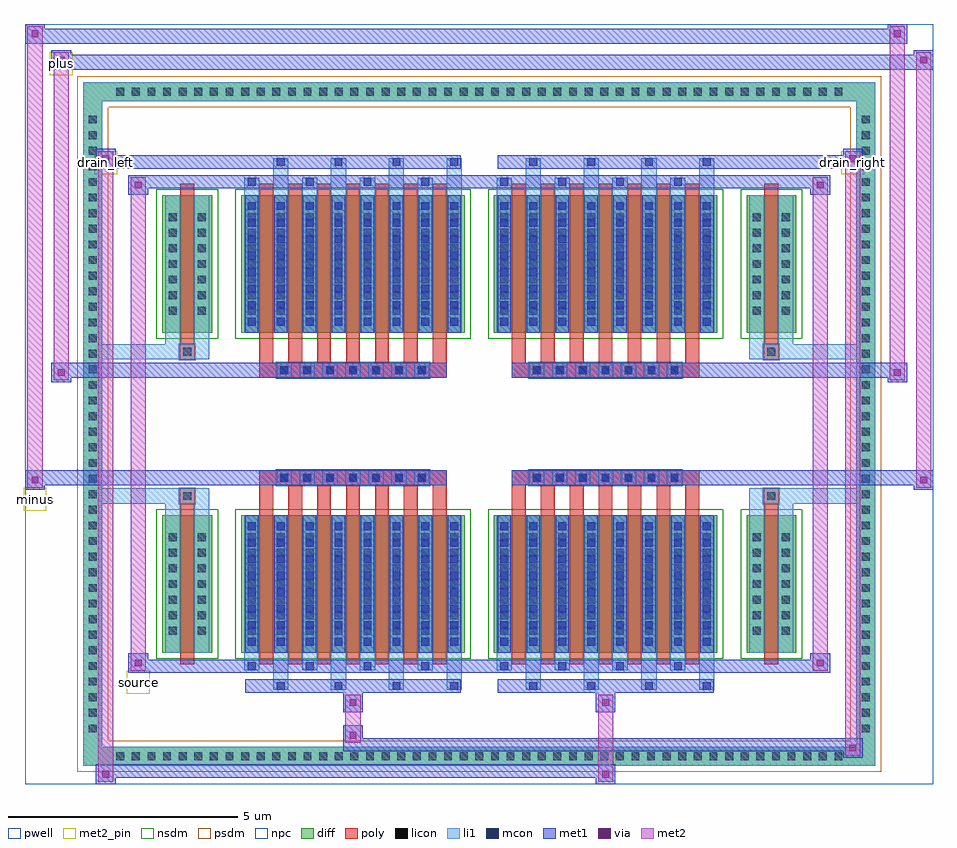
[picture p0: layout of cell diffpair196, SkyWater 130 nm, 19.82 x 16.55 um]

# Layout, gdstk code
import gdstk
lib = gdstk.Library(unit=1e-6, precision=5e-09)
def R(c, l, rs):  # rectangles x0, y0, x1, y1
    for r in rs: c.add(gdstk.rectangle(r[:2], r[2:], *l))
def A(c, l, x, y, w, h, nx, ny, dx, dy):  # array of equal rectangles
    R(c, l, [(x+i*dx, y+j*dy, x+i*dx+w, y+j*dy+h) for i in range(nx) for j in range(ny)])
def P(c, l, *ps):  # polygons
    for p in ps: c.add(gdstk.Polygon(p, *l))
pwell = (64, 44)
diff = (65, 20)
poly = (66, 20)
licon = (66, 44)
li1 = (67, 20)
mcon = (67, 44)
met1 = (68, 20)
via = (68, 44)
met2_pin = (69, 16)
met2 = (69, 20)
nsdm = (93, 44)
psdm = (94, 20)
npc = (95, 20)

diffpair196 = lib.new_cell('diffpair196')
R(diffpair196, pwell, [(-9.89,-7.84,9.89,8.71), (-7.21,-6.03,-0.01,-0.805), (0.01,-6.03,7.21,-0.805), (-7.21,0.805,-0.01,6.03), (0.01,0.805,7.21,6.03)])
A(diffpair196, diff, -8.025, -7.44, 0.41, 0.41, 47, 2, 0.34, 14.47)
A(diffpair196, diff, -8.62, -6.835, 0.41, 0.41, 1, 40, 0, 0.34)
A(diffpair196, diff, 8.21, -6.835, 0.41, 0.41, 1, 40, 0, 0.34)
R(diffpair196, diff, [(-8.025,-7.44,8.025,-7.03), (-8.62,-6.835,-8.21,6.835), (8.21,-6.835,8.62,6.835), (-6.9,-4.985,-5.82,-1.985), (-5.18,-4.985,-0.32,-1.985), (0.32,-4.985,5.18,-1.985), (5.82,-4.985,6.9,-1.985), (-6.9,1.985,-5.82,4.985), (-5.18,1.985,-0.32,4.985), (0.32,1.985,5.18,4.985), (5.82,1.985,6.9,4.985), (-8.025,7.03,8.025,7.44)])
P(diffpair196, diff, [(8.62,7.44),(-8.62,7.44),(-8.62,-7.03),(-8.21,-7.03),(-8.21,7.03),(8.21,7.03),(8.21,-7.03),(-8.21,-7.03),(-8.62,-7.03),(-8.62,-7.44),(8.62,-7.44)])
A(diffpair196, poly, -4.79, -5.235, 0.3, 3.5, 7, 2, 0.63, 6.97)
A(diffpair196, poly, 0.71, -5.235, 0.3, 3.5, 7, 2, 0.63, 6.97)
A(diffpair196, poly, -4.79, -1.735, 0.3, 0.4, 7, 2, 0.63, 3.07)
A(diffpair196, poly, 0.71, -1.735, 0.3, 0.4, 7, 2, 0.63, 3.07)
A(diffpair196, poly, -4.415, -1.335, 0.33, 0.33, 7, 2, 0.5, 2.34)
A(diffpair196, poly, 1.085, -1.335, 0.33, 0.33, 7, 2, 0.5, 2.34)
R(diffpair196, poly, [(-6.51,-5.235,-6.21,-1.735), (6.21,-5.235,6.51,-1.735), (-6.525,-1.735,-6.195,-1.405), (-6.525,-1.735,-6.195,-1.405), (6.195,-1.735,6.525,-1.405), (6.195,-1.735,6.525,-1.405), (-4.79,-1.335,-0.71,-1.005), (0.71,-1.335,4.79,-1.005), (-4.79,1.005,-0.71,1.335), (0.71,1.005,4.79,1.335), (-6.525,1.405,-6.195,1.735), (-6.525,1.405,-6.195,1.735), (6.195,1.405,6.525,1.735), (6.195,1.405,6.525,1.735), (-6.51,1.735,-6.21,5.235), (6.21,1.735,6.51,5.235)])
A(diffpair196, licon, -7.905, -7.32, 0.17, 0.17, 47, 2, 0.34, 14.47)
A(diffpair196, licon, -8.5, -6.715, 0.17, 0.17, 1, 40, 0, 0.34)
A(diffpair196, licon, 8.33, -6.715, 0.17, 0.17, 1, 40, 0, 0.34)
A(diffpair196, licon, -6.76, -4.59, 0.17, 0.17, 1, 7, 0, 0.34)
A(diffpair196, licon, -6.13, -4.59, 0.17, 0.17, 1, 7, 0, 0.34)
A(diffpair196, licon, -5.04, -4.59, 0.17, 0.17, 8, 7, 0.63, 0.34)
A(diffpair196, licon, 0.46, -4.59, 0.17, 0.17, 8, 7, 0.63, 0.34)
A(diffpair196, licon, 5.96, -4.59, 0.17, 0.17, 1, 7, 0, 0.34)
A(diffpair196, licon, 6.59, -4.59, 0.17, 0.17, 1, 7, 0, 0.34)
A(diffpair196, licon, -4.335, -1.255, 0.17, 0.17, 7, 2, 0.5, 2.34)
A(diffpair196, licon, 1.165, -1.255, 0.17, 0.17, 7, 2, 0.5, 2.34)
A(diffpair196, licon, -6.76, 2.38, 0.17, 0.17, 1, 7, 0, 0.34)
A(diffpair196, licon, -6.13, 2.38, 0.17, 0.17, 1, 7, 0, 0.34)
A(diffpair196, licon, -5.04, 2.38, 0.17, 0.17, 8, 7, 0.63, 0.34)
A(diffpair196, licon, 0.46, 2.38, 0.17, 0.17, 8, 7, 0.63, 0.34)
A(diffpair196, licon, 5.96, 2.38, 0.17, 0.17, 1, 7, 0, 0.34)
A(diffpair196, licon, 6.59, 2.38, 0.17, 0.17, 1, 7, 0, 0.34)
R(diffpair196, licon, [(-6.445,-1.655,-6.275,-1.485), (6.275,-1.655,6.445,-1.485), (-6.445,1.485,-6.275,1.655), (6.275,1.485,6.445,1.655)])
A(diffpair196, li1, -7.985, -7.4, 0.33, 0.33, 47, 2, 0.34, 14.47)
A(diffpair196, li1, -8.58, -6.795, 0.33, 0.33, 1, 40, 0, 0.34)
A(diffpair196, li1, 8.25, -6.795, 0.33, 0.33, 1, 40, 0, 0.34)
A(diffpair196, li1, -4.49, -5.79, 0.33, 0.805, 4, 2, 1.26, 10.775)
A(diffpair196, li1, -4.41, -5.79, 0.17, 0.17, 4, 2, 1.26, 11.41)
A(diffpair196, li1, 1.01, -5.79, 0.33, 0.805, 4, 2, 1.26, 10.775)
A(diffpair196, li1, 1.09, -5.79, 0.17, 0.17, 4, 2, 1.26, 11.41)
A(diffpair196, li1, -5.12, -5.36, 0.33, 0.375, 4, 2, 1.26, 10.345)
A(diffpair196, li1, -5.04, -5.36, 0.17, 0.17, 4, 2, 1.26, 10.55)
A(diffpair196, li1, 0.38, -5.36, 0.33, 0.375, 4, 2, 1.26, 10.345)
A(diffpair196, li1, 0.46, -5.36, 0.17, 0.17, 4, 2, 1.26, 10.55)
A(diffpair196, li1, -5.12, -4.985, 0.33, 3, 8, 2, 0.63, 6.97)
A(diffpair196, li1, 0.38, -4.985, 0.33, 3, 8, 2, 0.63, 6.97)
A(diffpair196, li1, -5.04, -4.83, 0.17, 0.17, 8, 8, 0.63, 0.36)
A(diffpair196, li1, -5.04, -4.83, 0.17, 2.69, 8, 2, 0.63, 6.97)
A(diffpair196, li1, 0.46, -4.83, 0.17, 0.17, 8, 8, 0.63, 0.36)
A(diffpair196, li1, 0.46, -4.83, 0.17, 2.69, 8, 2, 0.63, 6.97)
A(diffpair196, li1, -6.84, -4.67, 0.33, 0.33, 1, 7, 0, 0.34)
A(diffpair196, li1, -6.21, -4.67, 0.33, 0.33, 1, 7, 0, 0.34)
A(diffpair196, li1, -5.12, -4.67, 0.33, 0.33, 8, 7, 0.63, 0.34)
A(diffpair196, li1, 0.38, -4.67, 0.33, 0.33, 8, 7, 0.63, 0.34)
A(diffpair196, li1, 5.88, -4.67, 0.33, 0.33, 1, 7, 0, 0.34)
A(diffpair196, li1, 6.51, -4.67, 0.33, 0.33, 1, 7, 0, 0.34)
A(diffpair196, li1, -4.415, -1.335, 0.33, 0.33, 7, 2, 0.5, 2.34)
A(diffpair196, li1, 1.085, -1.335, 0.33, 0.33, 7, 2, 0.5, 2.34)
A(diffpair196, li1, -5.04, 2.14, 0.17, 0.17, 8, 8, 0.63, 0.36)
A(diffpair196, li1, 0.46, 2.14, 0.17, 0.17, 8, 8, 0.63, 0.36)
A(diffpair196, li1, -6.84, 2.3, 0.33, 0.33, 1, 7, 0, 0.34)
A(diffpair196, li1, -6.21, 2.3, 0.33, 0.33, 1, 7, 0, 0.34)
A(diffpair196, li1, -5.12, 2.3, 0.33, 0.33, 8, 7, 0.63, 0.34)
A(diffpair196, li1, 0.38, 2.3, 0.33, 0.33, 8, 7, 0.63, 0.34)
A(diffpair196, li1, 5.88, 2.3, 0.33, 0.33, 1, 7, 0, 0.34)
A(diffpair196, li1, 6.51, 2.3, 0.33, 0.33, 1, 7, 0, 0.34)
R(diffpair196, li1, [(-8.62,-7.44,-8.21,-7.03), (-8.62,-7.44,-8.21,-7.03), (-8.21,-7.44,8.21,-7.03), (8.21,-7.44,8.62,-7.03), (8.21,-7.44,8.62,-7.03), (-8.62,-7.03,-8.21,7.03), (8.21,-7.03,8.62,7.03), (-6.84,-4.985,-6.51,-1.985), (-6.21,-4.985,-5.88,-1.985), (5.88,-4.985,6.21,-1.985), (6.51,-4.985,6.84,-1.985), (-6.84,-1.985,-6.51,-1.405), (-6.21,-1.985,-5.88,-1.405), (5.88,-1.985,6.21,-1.405), (6.51,-1.985,6.84,-1.405), (-8.62,-1.735,-6.525,-1.405), (-6.84,-1.735,-6.525,-1.405), (-6.525,-1.735,-6.195,-1.405), (-6.195,-1.735,-5.88,-1.405), (5.88,-1.735,6.195,-1.405), (6.195,-1.735,6.525,-1.405), (6.195,-1.735,8.62,-1.405), (6.525,-1.735,6.84,-1.405), (-8.62,1.405,-6.525,1.735), (-6.84,1.405,-6.525,1.735), (-6.84,1.405,-6.51,1.985), (-6.525,1.405,-6.195,1.735), (-6.21,1.405,-5.88,1.985), (-6.195,1.405,-5.88,1.735), (5.88,1.405,6.195,1.735), (5.88,1.405,6.21,1.985), (6.195,1.405,6.525,1.735), (6.195,1.405,8.62,1.735), (6.51,1.405,6.84,1.985), (6.525,1.405,6.84,1.735), (-6.84,1.985,-6.51,4.985), (-6.21,1.985,-5.88,4.985), (5.88,1.985,6.21,4.985), (6.51,1.985,6.84,4.985), (-8.62,7.03,-8.21,7.44), (-8.62,7.03,-8.21,7.44), (-8.21,7.03,8.21,7.44), (8.21,7.03,8.62,7.44), (8.21,7.03,8.62,7.44)])
A(diffpair196, mcon, -4.41, -5.79, 0.17, 0.17, 4, 2, 1.26, 11.41)
A(diffpair196, mcon, 1.09, -5.79, 0.17, 0.17, 4, 2, 1.26, 11.41)
A(diffpair196, mcon, -5.04, -5.36, 0.17, 0.17, 4, 2, 1.26, 10.55)
A(diffpair196, mcon, 0.46, -5.36, 0.17, 0.17, 4, 2, 1.26, 10.55)
A(diffpair196, mcon, -5.04, -4.83, 0.17, 0.17, 8, 8, 0.63, 0.36)
A(diffpair196, mcon, 0.46, -4.83, 0.17, 0.17, 8, 8, 0.63, 0.36)
A(diffpair196, mcon, -4.335, -1.255, 0.17, 0.17, 7, 2, 0.5, 2.34)
A(diffpair196, mcon, 1.165, -1.255, 0.17, 0.17, 7, 2, 0.5, 2.34)
A(diffpair196, mcon, -5.04, 2.14, 0.17, 0.17, 8, 8, 0.63, 0.36)
A(diffpair196, mcon, 0.46, 2.14, 0.17, 0.17, 8, 8, 0.63, 0.36)
A(diffpair196, met1, -4.47, -5.85, 0.29, 0.29, 4, 2, 1.26, 11.41)
A(diffpair196, met1, 1.03, -5.85, 0.29, 0.29, 4, 2, 1.26, 11.41)
A(diffpair196, met1, -5.1, -5.42, 0.29, 0.29, 4, 2, 1.26, 10.55)
A(diffpair196, met1, 0.4, -5.42, 0.29, 0.29, 4, 2, 1.26, 10.55)
A(diffpair196, met1, -5.1, -4.985, 0.29, 3, 8, 2, 0.63, 6.97)
A(diffpair196, met1, 0.4, -4.985, 0.29, 3, 8, 2, 0.63, 6.97)
A(diffpair196, met1, -5.1, -4.89, 0.29, 0.29, 8, 8, 0.63, 0.36)
A(diffpair196, met1, 0.4, -4.89, 0.29, 0.29, 8, 8, 0.63, 0.36)
A(diffpair196, met1, -4.395, -1.315, 0.29, 0.29, 7, 2, 0.5, 2.34)
A(diffpair196, met1, 1.105, -1.315, 0.29, 0.29, 7, 2, 0.5, 2.34)
A(diffpair196, met1, -5.1, 2.08, 0.29, 0.29, 8, 8, 0.63, 0.36)
A(diffpair196, met1, 0.4, 2.08, 0.29, 0.29, 8, 8, 0.63, 0.36)
R(diffpair196, met1, [(-8.35,-7.84,-7.92,-7.41), (2.535,-7.84,2.965,-7.41), (-8.35,-7.7,2.965,-7.41), (7.92,-7.27,8.35,-6.84), (-2.965,-7.13,8.35,-6.84), (-2.965,-6.99,-2.535,-6.56), (-2.965,-6.28,-2.535,-5.85), (2.535,-6.28,2.965,-5.85), (-5.1,-5.85,-0.4,-5.56), (0.4,-5.85,5.1,-5.56), (-7.64,-5.42,-7.21,-4.99), (-7.64,-5.42,-5.1,-5.13), (-5.1,-5.42,-0.4,-5.13), (-0.4,-5.42,0.4,-5.13), (0.4,-5.42,5.1,-5.13), (5.1,-5.42,7.64,-5.13), (7.21,-5.42,7.64,-4.99), (-9.89,-1.435,-9.46,-1.005), (9.46,-1.435,9.89,-1.005), (-9.89,-1.335,-0.71,-1.005), (-4.79,-1.335,-0.71,-1.005), (0.71,-1.335,4.79,-1.005), (0.71,-1.335,9.89,-1.005), (-9.32,0.905,-8.89,1.335), (8.89,0.905,9.32,1.335), (-9.32,1.005,-4.79,1.335), (-4.79,1.005,-0.71,1.335), (0.71,1.005,4.79,1.335), (4.79,1.005,9.32,1.335), (-7.64,4.99,-7.21,5.42), (7.21,4.99,7.64,5.42), (-7.64,5.13,-5.1,5.42), (-5.1,5.13,-0.4,5.42), (-0.4,5.13,0.4,5.42), (0.4,5.13,5.1,5.42), (5.1,5.13,7.64,5.42), (-8.35,5.56,-7.92,5.99), (-8.35,5.56,-5.1,5.85), (-5.1,5.56,-0.4,5.85), (0.4,5.56,5.1,5.85), (5.1,5.56,8.35,5.85), (7.92,5.56,8.35,5.99), (-9.32,7.71,-8.89,8.14), (-9.32,7.71,-7.21,8.04), (-7.21,7.71,7.21,8.04), (7.21,7.71,9.89,8.04), (9.46,7.71,9.89,8.14), (-9.89,8.28,-9.46,8.71), (-9.89,8.28,-7.21,8.61), (-7.21,8.28,7.21,8.61), (7.21,8.28,9.32,8.61), (8.89,8.28,9.32,8.71)])
R(diffpair196, via, [(-8.21,-7.7,-8.06,-7.55), (2.675,-7.7,2.825,-7.55), (8.06,-7.13,8.21,-6.98), (-2.825,-6.85,-2.675,-6.7), (-2.825,-6.14,-2.675,-5.99), (2.675,-6.14,2.825,-5.99), (-7.5,-5.28,-7.35,-5.13), (7.35,-5.28,7.5,-5.13), (-9.75,-1.295,-9.6,-1.145), (9.6,-1.295,9.75,-1.145), (-9.18,1.045,-9.03,1.195), (9.03,1.045,9.18,1.195), (-7.5,5.13,-7.35,5.28), (7.35,5.13,7.5,5.28), (-8.21,5.7,-8.06,5.85), (8.06,5.7,8.21,5.85), (-9.18,7.85,-9.03,8), (9.6,7.85,9.75,8), (-9.75,8.42,-9.6,8.57), (9.03,8.42,9.18,8.57)])
R(diffpair196, met2_pin, [(-7.675,-5.87,-7.175,-5.37), (-9.925,-1.885,-9.425,-1.385), (-8.385,5.44,-7.885,5.94), (7.885,5.44,8.385,5.94), (-9.355,7.59,-8.855,8.09)])
R(diffpair196, met2, [(-8.3,-7.79,-7.97,-7.46), (-8.3,-7.79,-7.97,5.94), (2.585,-7.79,2.915,-7.46), (2.585,-7.46,2.915,-6.23), (7.97,-7.22,8.3,-6.89), (7.97,-7.22,8.3,5.94), (-2.915,-6.94,-2.585,-6.61), (-2.915,-6.61,-2.585,-6.23), (-2.915,-6.23,-2.585,-5.9), (2.585,-6.23,2.915,-5.9), (-7.59,-5.37,-7.26,-5.04), (-7.59,-5.37,-7.26,5.37), (7.26,-5.37,7.59,-5.04), (7.26,-5.37,7.59,5.37), (-9.84,-1.385,-9.51,-1.055), (-9.84,-1.385,-9.51,8.66), (9.51,-1.385,9.84,-1.055), (9.51,-1.385,9.84,8.09), (-9.27,0.955,-8.94,1.285), (-9.27,0.955,-8.94,8.09), (8.94,0.955,9.27,1.285), (8.94,0.955,9.27,8.66), (-7.59,5.04,-7.26,5.37), (7.26,5.04,7.59,5.37), (-8.3,5.61,-7.97,5.94), (7.97,5.61,8.3,5.94), (-9.27,7.76,-8.94,8.09), (9.51,7.76,9.84,8.09), (-9.84,8.33,-9.51,8.66), (8.94,8.33,9.27,8.66)])
P(diffpair196, met2, [(9.84,-1.385),(9.84,-1.385),(9.84,-1.055),(9.84,-1.055)],
  [(9.84,7.76),(9.84,7.76),(9.84,8.09),(9.84,8.09)],
  [(-9.51,-1.385),(-9.51,-1.385),(-9.51,-1.055),(-9.51,-1.055)],
  [(-9.51,8.33),(-9.51,8.33),(-9.51,8.66),(-9.51,8.66)],
  [(9.27,0.955),(9.27,0.955),(9.27,1.285),(9.27,1.285)],
  [(9.27,8.33),(9.27,8.33),(9.27,8.66),(9.27,8.66)],
  [(-8.94,0.955),(-8.94,0.955),(-8.94,1.285),(-8.94,1.285)],
  [(-8.94,7.76),(-8.94,7.76),(-8.94,8.09),(-8.94,8.09)],
  [(-7.97,-7.79),(-7.97,-7.79),(-7.97,-7.46),(-7.97,-7.46)],
  [(-7.97,5.61),(-7.97,5.61),(-7.97,5.94),(-7.97,5.94)],
  [(8.3,-7.22),(8.3,-7.22),(8.3,-6.89),(8.3,-6.89)],
  [(8.3,5.61),(8.3,5.61),(8.3,5.94),(8.3,5.94)],
  [(-7.26,-5.37),(-7.26,-5.37),(-7.26,-5.04),(-7.26,-5.04)],
  [(-7.26,5.04),(-7.26,5.04),(-7.26,5.37),(-7.26,5.37)],
  [(7.59,-5.37),(7.59,-5.37),(7.59,-5.04),(7.59,-5.04)],
  [(7.59,5.04),(7.59,5.04),(7.59,5.37),(7.59,5.37)])
R(diffpair196, nsdm, [(-7.03,-5.115,-5.69,-1.855), (-5.31,-5.115,-0.19,-1.855), (0.19,-5.115,5.31,-1.855), (5.69,-5.115,7.03,-1.855), (-7.03,1.855,-5.69,5.115), (-5.31,1.855,-0.19,5.115), (0.19,1.855,5.31,5.115), (5.69,1.855,7.03,5.115)])
P(diffpair196, psdm, [(8.75,7.57),(-8.75,7.57),(-8.75,-6.9),(-8.08,-6.9),(-8.08,6.9),(8.08,6.9),(8.08,-6.9),(-8.08,-6.9),(-8.75,-6.9),(-8.75,-7.57),(8.75,-7.57)])
A(diffpair196, npc, -4.435, -1.355, 0.37, 0.37, 7, 2, 0.5, 2.34)
A(diffpair196, npc, 1.065, -1.355, 0.37, 0.37, 7, 2, 0.5, 2.34)
R(diffpair196, npc, [(-6.545,-1.755,-6.175,-1.385), (6.175,-1.755,6.545,-1.385), (-4.435,-1.355,-3.565,-0.985), (-4.435,-1.355,-3.565,-0.985), (-3.935,-1.355,-3.065,-0.985), (-3.935,-1.355,-3.065,-0.985), (-3.435,-1.355,-2.565,-0.985), (-3.435,-1.355,-2.565,-0.985), (-2.935,-1.355,-2.065,-0.985), (-2.935,-1.355,-2.065,-0.985), (-2.435,-1.355,-1.565,-0.985), (-2.435,-1.355,-1.565,-0.985), (-1.935,-1.355,-1.065,-0.985), (-1.935,-1.355,-1.065,-0.985), (1.065,-1.355,1.935,-0.985), (1.065,-1.355,1.935,-0.985), (1.565,-1.355,2.435,-0.985), (1.565,-1.355,2.435,-0.985), (2.065,-1.355,2.935,-0.985), (2.065,-1.355,2.935,-0.985), (2.565,-1.355,3.435,-0.985), (2.565,-1.355,3.435,-0.985), (3.065,-1.355,3.935,-0.985), (3.065,-1.355,3.935,-0.985), (3.565,-1.355,4.435,-0.985), (3.565,-1.355,4.435,-0.985), (-4.435,0.985,-3.565,1.355), (-4.435,0.985,-3.565,1.355), (-3.935,0.985,-3.065,1.355), (-3.935,0.985,-3.065,1.355), (-3.435,0.985,-2.565,1.355), (-3.435,0.985,-2.565,1.355), (-2.935,0.985,-2.065,1.355), (-2.935,0.985,-2.065,1.355), (-2.435,0.985,-1.565,1.355), (-2.435,0.985,-1.565,1.355), (-1.935,0.985,-1.065,1.355), (-1.935,0.985,-1.065,1.355), (1.065,0.985,1.935,1.355), (1.065,0.985,1.935,1.355), (1.565,0.985,2.435,1.355), (1.565,0.985,2.435,1.355), (2.065,0.985,2.935,1.355), (2.065,0.985,2.935,1.355), (2.565,0.985,3.435,1.355), (2.565,0.985,3.435,1.355), (3.065,0.985,3.935,1.355), (3.065,0.985,3.935,1.355), (3.565,0.985,4.435,1.355), (3.565,0.985,4.435,1.355), (-6.545,1.385,-6.175,1.755), (6.175,1.385,6.545,1.755)])
diffpair196.add(gdstk.Label('minus', (-9.675,-1.635), layer=69, texttype=5))
diffpair196.add(gdstk.Label('drain_right', (8.135,5.69), layer=69, texttype=5))
diffpair196.add(gdstk.Label('drain_left', (-8.135,5.69), layer=69, texttype=5))
diffpair196.add(gdstk.Label('source', (-7.425,-5.62), layer=69, texttype=5))
diffpair196.add(gdstk.Label('plus', (-9.105,7.84), layer=69, texttype=5))

lib.write_gds('diffpair196.gds')
